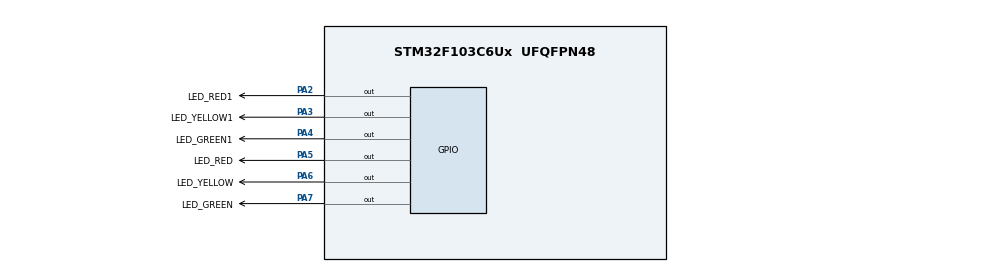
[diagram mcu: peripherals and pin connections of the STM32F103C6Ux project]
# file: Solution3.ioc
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Mcu.Family=STM32F1
Mcu.Name=STM32F103C6Ux
Mcu.Package=UFQFPN48
NVIC.PriorityGroup=NVIC_PRIORITYGROUP_4
PA2.GPIO_Label=LED_RED1
PA2.Signal=GPIO_Output
PA3.GPIO_Label=LED_YELLOW1
PA3.Signal=GPIO_Output
PA4.GPIO_Label=LED_GREEN1
PA4.Signal=GPIO_Output
PA5.GPIO_Label=LED_RED
PA5.Signal=GPIO_Output
PA6.GPIO_Label=LED_YELLOW
PA6.Signal=GPIO_Output
PA7.GPIO_Label=LED_GREEN
PA7.Signal=GPIO_Output
ProjectManager.HeapSize=0x200
ProjectManager.StackSize=0x400
ProjectManager.TargetToolchain=STM32CubeIDE
RCC.APB1Freq_Value=8000000
RCC.APB2Freq_Value=8000000
VP_SYS_VS_ND.Mode=No_Debug
board=custom

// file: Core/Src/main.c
/* USER CODE BEGIN Header */
/**
  ******************************************************************************
  * @file           : main.c
  * @brief          : Main program body
  ******************************************************************************
  * @attention
  *
  * <h2><center>&copy; Copyright (c) 2022 STMicroelectronics.
  * All rights reserved.</center></h2>
  *
  * This software component is licensed by ST under BSD 3-Clause license,
  * the "License"; You may not use this file except in compliance with the
  * License. You may obtain a copy of the License at:
  *                        opensource.org/licenses/BSD-3-Clause
  *
  ******************************************************************************
  */
/* USER CODE END Header */
#include "main.h"

void SystemClock_Config(void);
static void MX_GPIO_Init(void);

int main(void)
{
  /* USER CODE BEGIN 1 */
	int count = 0;
	int led_status = 1;
  /* USER CODE END 1 */

  /* MCU Configuration--------------------------------------------------------*/

  /* Reset of all peripherals, Initializes the Flash interface and the Systick. */
  HAL_Init();

  /* Configure the system clock */
  SystemClock_Config();

  /* Initialize all configured peripherals */
  MX_GPIO_Init();

  /* Infinite loop */
  /* USER CODE BEGIN WHILE */
  while (1)
  {
	if(led_status == 1){ // red led on - off the yellow led
	  	HAL_GPIO_WritePin(LED_RED_GPIO_Port, LED_RED_Pin, GPIO_PIN_RESET);
	  	HAL_GPIO_WritePin(LED_GREEN_GPIO_Port, LED_GREEN_Pin, GPIO_PIN_SET);
	  	HAL_GPIO_WritePin(LED_YELLOW_GPIO_Port, LED_YELLOW_Pin, GPIO_PIN_SET);
	  	count = count + 1;
		if(count <3){
	  		//green of the other road
	  		HAL_GPIO_WritePin(LED_GREEN1_GPIO_Port, LED_GREEN1_Pin, GPIO_PIN_RESET);
	  		HAL_GPIO_WritePin(LED_RED1_GPIO_Port, LED_RED1_Pin, GPIO_PIN_SET);
	  		HAL_GPIO_WritePin(LED_YELLOW1_GPIO_Port, LED_YELLOW1_Pin, GPIO_PIN_SET);
	  	}
	  	else if(count < 5){
	  		//yellow of the other road
	  		HAL_GPIO_WritePin(LED_YELLOW1_GPIO_Port, LED_YELLOW1_Pin, GPIO_PIN_RESET);
	  		HAL_GPIO_WritePin(LED_GREEN1_GPIO_Port, LED_GREEN1_Pin, GPIO_PIN_SET);
	  		HAL_GPIO_WritePin(LED_RED1_GPIO_Port, LED_RED1_Pin, GPIO_PIN_SET);
	  	}
	  	if(count >= 5){
	  		count = 0;
	  		led_status = 2;
	  	}
	}else if(led_status == 2){ // green led on - off the red led
	  	HAL_GPIO_WritePin(LED_GREEN_GPIO_Port, LED_GREEN_Pin, GPIO_PIN_RESET);
	  	HAL_GPIO_WritePin(LED_RED_GPIO_Port, LED_RED_Pin, GPIO_PIN_SET);
	  	HAL_GPIO_WritePin(LED_YELLOW_GPIO_Port, LED_YELLOW_Pin, GPIO_PIN_SET);

	  	//red of the other road
	  	HAL_GPIO_WritePin(LED_RED1_GPIO_Port, LED_RED1_Pin, GPIO_PIN_RESET);
	  	HAL_GPIO_WritePin(LED_GREEN1_GPIO_Port, LED_GREEN1_Pin, GPIO_PIN_SET);
	  	HAL_GPIO_WritePin(LED_YELLOW1_GPIO_Port, LED_YELLOW1_Pin, GPIO_PIN_SET);

	  	count = count + 1;
	  	if(count >= 3){
	  	count = 0;
	  		led_status = 3;
	  	}
	}else if(led_status == 3){ // yellow led on - off the green led
	  	HAL_GPIO_WritePin(LED_YELLOW_GPIO_Port, LED_YELLOW_Pin, GPIO_PIN_RESET);
	  	HAL_GPIO_WritePin(LED_GREEN_GPIO_Port, LED_GREEN_Pin, GPIO_PIN_SET);
	  	HAL_GPIO_WritePin(LED_RED_GPIO_Port, LED_RED_Pin, GPIO_PIN_SET);

	  	//red of the other road
	  	HAL_GPIO_WritePin(LED_RED1_GPIO_Port, LED_RED1_Pin, GPIO_PIN_RESET);
	  	HAL_GPIO_WritePin(LED_GREEN1_GPIO_Port, LED_GREEN1_Pin, GPIO_PIN_SET);
	  	HAL_GPIO_WritePin(LED_YELLOW1_GPIO_Port, LED_YELLOW1_Pin, GPIO_PIN_SET);

	  	count = count + 1;
	  	if(count >= 2){
	  		count = 0;
	  		led_status = 1;
	  	}
	}
	HAL_Delay(1000);
    /* USER CODE END WHILE */

  }
}

void SystemClock_Config(void)
{
  RCC_OscInitTypeDef RCC_OscInitStruct = {0};
  RCC_ClkInitTypeDef RCC_ClkInitStruct = {0};

  /** Initializes the RCC Oscillators according to the specified parameters
  * in the RCC_OscInitTypeDef structure.
  */
  RCC_OscInitStruct.OscillatorType = RCC_OSCILLATORTYPE_HSI;
  RCC_OscInitStruct.HSIState = RCC_HSI_ON;
  RCC_OscInitStruct.HSICalibrationValue = RCC_HSICALIBRATION_DEFAULT;
  RCC_OscInitStruct.PLL.PLLState = RCC_PLL_NONE;
  if (HAL_RCC_OscConfig(&RCC_OscInitStruct) != HAL_OK)
  {
    Error_Handler();
  }
  /** Initializes the CPU, AHB and APB buses clocks
  */
  RCC_ClkInitStruct.ClockType = RCC_CLOCKTYPE_HCLK|RCC_CLOCKTYPE_SYSCLK
                              |RCC_CLOCKTYPE_PCLK1|RCC_CLOCKTYPE_PCLK2;
  RCC_ClkInitStruct.SYSCLKSource = RCC_SYSCLKSOURCE_HSI;
  RCC_ClkInitStruct.AHBCLKDivider = RCC_SYSCLK_DIV1;
  RCC_ClkInitStruct.APB1CLKDivider = RCC_HCLK_DIV1;
  RCC_ClkInitStruct.APB2CLKDivider = RCC_HCLK_DIV1;

  if (HAL_RCC_ClockConfig(&RCC_ClkInitStruct, FLASH_LATENCY_0) != HAL_OK)
  {
    Error_Handler();
  }
}

static void MX_GPIO_Init(void)
{
  GPIO_InitTypeDef GPIO_InitStruct = {0};

  /* GPIO Ports Clock Enable */
  __HAL_RCC_GPIOA_CLK_ENABLE();

  /*Configure GPIO pin Output Level */
  HAL_GPIO_WritePin(GPIOA, LED_RED1_Pin|LED_YELLOW1_Pin|LED_GREEN1_Pin|LED_RED_Pin
                          |LED_YELLOW_Pin|LED_GREEN_Pin, GPIO_PIN_RESET);

  /*Configure GPIO pins : LED_RED1_Pin LED_YELLOW1_Pin LED_GREEN1_Pin LED_RED_Pin
                           LED_YELLOW_Pin LED_GREEN_Pin */
  GPIO_InitStruct.Pin = LED_RED1_Pin|LED_YELLOW1_Pin|LED_GREEN1_Pin|LED_RED_Pin
                          |LED_YELLOW_Pin|LED_GREEN_Pin;
  GPIO_InitStruct.Mode = GPIO_MODE_OUTPUT_PP;
  GPIO_InitStruct.Pull = GPIO_NOPULL;
  GPIO_InitStruct.Speed = GPIO_SPEED_FREQ_LOW;
  HAL_GPIO_Init(GPIOA, &GPIO_InitStruct);

}

void Error_Handler(void)
{
  __disable_irq();
  while (1)
  {
  }
}

/************************ (C) COPYRIGHT STMicroelectronics *****END OF FILE****/
